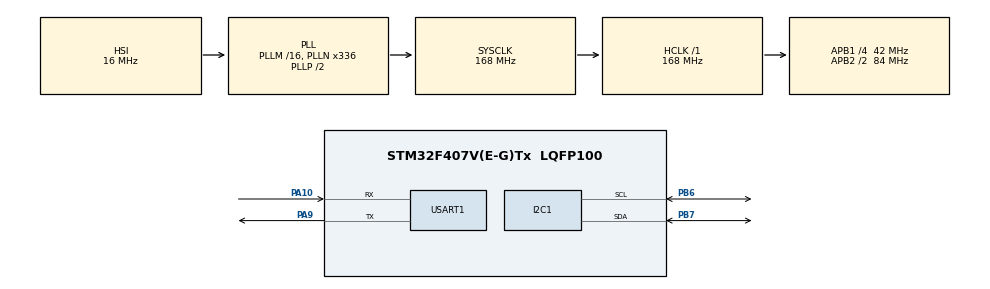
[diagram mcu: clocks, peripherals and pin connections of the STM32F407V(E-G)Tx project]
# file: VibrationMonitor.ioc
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I2C1.I2C_ClockSpeed=400000
Mcu.Family=STM32F4
Mcu.Name=STM32F407V(E-G)Tx
Mcu.Package=LQFP100
NVIC.PriorityGroup=NVIC_PRIORITYGROUP_4
PA10.Mode=Asynchronous
PA10.Signal=USART1_RX
PA9.Mode=Asynchronous
PA9.Signal=USART1_TX
PB6.Mode=I2C
PB6.Signal=I2C1_SCL
PB7.Mode=I2C
PB7.Signal=I2C1_SDA
PH0-OSC_IN.Signal=RCC_OSC_IN
PH1-OSC_OUT.Signal=RCC_OSC_OUT
ProjectManager.HeapSize=0x200
ProjectManager.StackSize=0x400
ProjectManager.TargetToolchain=MDK-ARM V5.32
RCC.AHBFreq_Value=168000000
RCC.APB1CLKDivider=RCC_HCLK_DIV4
RCC.APB1Freq_Value=42000000
RCC.APB1TimFreq_Value=84000000
RCC.APB2CLKDivider=RCC_HCLK_DIV2
RCC.APB2Freq_Value=84000000
RCC.APB2TimFreq_Value=168000000
RCC.CortexFreq_Value=168000000
RCC.HCLKFreq_Value=168000000
RCC.HSE_VALUE=8000000
RCC.HSI_VALUE=16000000
RCC.LSE_VALUE=32768
RCC.PLLN=336
RCC.PLLQ=7
RCC.SYSCLKFreq_VALUE=168000000
RCC.SYSCLKSource=RCC_SYSCLKSOURCE_PLLCLK
RCC.VCOOutputFreq_Value=336000000
SYS.Debug=Serial Wire
TIM3.Period=999
TIM3.Prescaler=83
USART1.VirtualMode=VM_ASYNC
VP_TIM3_VS_ClockSourceINT.Mode=Internal
board=custom

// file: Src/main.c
/* USER CODE BEGIN Header */
/**
  ******************************************************************************
  * @file           : main.c
  * @brief          : Main program body
  ******************************************************************************
  * @attention
  *
  * Copyright (c) 2026 STMicroelectronics.
  * All rights reserved.
  *
  * This software is licensed under terms that can be found in the LICENSE file
  * in the root directory of this software component.
  * If no LICENSE file comes with this software, it is provided AS-IS.
  *
  ******************************************************************************
  */
/* USER CODE END Header */
#include "main.h"

/* USER CODE BEGIN Includes */
#include "mpu6050.h"
#include "ssd1306.h"
#include "fft_analyzer.h"
#include "sampler.h"
#include <math.h>
/* USER CODE END Includes */

I2C_HandleTypeDef hi2c1;

TIM_HandleTypeDef htim3;

UART_HandleTypeDef huart1;

/* USER CODE BEGIN PV */
/* sample block: filled at exactly 1kHz from the MPU6050 X axis */
static float    sample_buf[FFT_N];
static float    fft_re[FFT_N];
static float    mag_buf[FFT_HALF + 1];

static uint32_t peak_bin = 0;      /* index of the strongest spectral line */
static float    peak_hz  = 0.0f;   /* that line converted to Hz            */

/* ---- idle / active detection thresholds ---------------------------------
 * amplitude unit: FFT magnitude in accelerometer LSB (+-4g, 8192 LSB/g).
 * PEAK_RATIO : the peak line must exceed the noise-floor mean by this factor
 * PEAK_FLOOR : absolute peak magnitude floor (LSB), rejects near-zero blocks
 * RMS_FLOOR  : time-domain RMS floor (LSB), rejects tiny idle motion
 * If a block fails either test it is reported as idle (PEAK = 0.0 Hz).
 * Tune these three constants together if idle still shows a fake peak,
 * or a light tap fails to trigger.                                          */
#define PEAK_RATIO    3.5f
#define PEAK_FLOOR    6.0f
#define RMS_FLOOR     8.0f
/* USER CODE END PV */

void SystemClock_Config(void);
static void MX_GPIO_Init(void);
static void MX_I2C1_Init(void);
static void MX_USART1_UART_Init(void);
static void MX_TIM3_Init(void);
/* USER CODE BEGIN PFP */
static void UART1_Print(const char *text);
static void UART1_PrintPeak(uint32_t bin, float hz);
/* USER CODE END PFP */

/* USER CODE BEGIN 0 */
/* send a plain string over USART1 (PA9) at 115200 8N1 */
static void UART1_Print(const char *text)
{
  uint16_t len = 0;
  while ((text[len] != 0) && (len < 128))
    len++;
  HAL_UART_Transmit(&huart1, (uint8_t *)text, len, 100);
}

/* report the strongest spectral line, integer Hz is enough for the demo */
static void UART1_PrintPeak(uint32_t bin, float hz)
{
  char buf[48];
  uint16_t i = 0;
  char tmp[8];
  int8_t k = 0;
  uint32_t ip = (uint32_t)(hz + 0.5f);

  buf[i++] = 'P'; buf[i++] = 'E'; buf[i++] = 'A'; buf[i++] = 'K';
  buf[i++] = '=';
  if (ip == 0)
    tmp[k++] = '0';
  while ((ip > 0) && (k < 8))
  {
    tmp[k++] = (char)('0' + (ip % 10));
    ip /= 10;
  }
  while (k > 0)
    buf[i++] = tmp[--k];

  buf[i++] = 'H'; buf[i++] = 'z'; buf[i++] = ' ';
  buf[i++] = 'b'; buf[i++] = 'i'; buf[i++] = 'n'; buf[i++] = '=';
  k = 0;
  ip = bin;
  if (ip == 0)
    tmp[k++] = '0';
  while ((ip > 0) && (k < 8))
  {
    tmp[k++] = (char)('0' + (ip % 10));
    ip /= 10;
  }
  while (k > 0)
    buf[i++] = tmp[--k];

  buf[i++] = '\r'; buf[i++] = '\n'; buf[i] = 0;
  UART1_Print(buf);
}
/* USER CODE END 0 */

int main(void)
{

  /* MCU Configuration--------------------------------------------------------*/

  /* Reset of all peripherals, Initializes the Flash interface and the Systick. */
  HAL_Init();

  /* Configure the system clock */
  SystemClock_Config();

  /* Initialize all configured peripherals */
  MX_GPIO_Init();
  MX_I2C1_Init();
  MX_USART1_UART_Init();
  MX_TIM3_Init();
  /* USER CODE BEGIN 2 */
  /* ---- OLED first, so every later step can report on screen ---- */
  OLED_Init(&hi2c1);
  OLED_Clear();
  OLED_String(0, 12, "STM32 VIB MONITOR");
  OLED_String(0, 28, "MPU6050 + FFT");
  OLED_Refresh();
  HAL_Delay(300);

  /* ---- accelerometer: WHO_AM_I check, 1kHz ODR, +-4g ---- */
  if (MPU6050_Init(&hi2c1) != 0)
  {
    OLED_Clear();
    OLED_String(0, 12, "MPU6050 FAIL");
    OLED_String(0, 28, "CHECK I2C WIRING");
    OLED_Refresh();
    UART1_Print("MPU6050 init failed\r\n");
    while (1)
    {
      /* stop here: nothing to analyse without the sensor */
    }
  }

  UART1_Print("MPU6050 ready: Fs=1000Hz, N=1024\r\n");

  /* ---- TIM3: 1kHz hardware sampler (update interrupt reads the sensor) ---- */
  Sampler_Init(&hi2c1);
  UART1_Print("TIM3 sampler started: 1kHz\r\n");
  /* USER CODE END 2 */

  /* Infinite loop */
  while (1)
  {

    /* USER CODE BEGIN 3 */
    uint32_t n;
    float absmax, mmax, v;
    float mag_max, mag_sum, mag_mean, rms;
    uint32_t k, bin_max, n_bins;
    uint8_t active;
    float *sampled;
    int16_t x, y, yprev, bar_x;
    uint16_t bar_h;

    /* ============ 1) acquire one block: TIM3 fires every 1ms ============ */
    Sampler_Start();
    while (Sampler_IsDone() == 0)
    {
      /* the whole block is filled inside the TIM3 update interrupt,
         the main loop only waits, so no I2C bus conflict with the OLED */
    }
    sampled = Sampler_Buffer();
    for (n = 0; n < FFT_N; n++)
    {
      sample_buf[n] = sampled[n];
    }

    /* ============ 2) signal processing ============ */
    FFT_MovingAverage(sample_buf, FFT_N, 4);            /* 4 point moving average   */
    FFT_RemoveDC(sample_buf, FFT_N);                    /* drop the gravity offset */
    for (n = 0; n < FFT_N; n++)
    {
      fft_re[n] = sample_buf[n];
    }
    FFT_HannWindow(fft_re, FFT_N);                      /* reduce leakage */
    FFT_Spectrum(fft_re, mag_buf, FFT_N);               /* CMSIS-DSP real FFT */

    /* ============ 2.5) idle / active detection ==========================
     * A real vibration shows up both as a time-domain energy rise and as a
     * single spectral line standing out above the noise floor.  Pure sensor
     * noise has no outstanding line, so we reject it as idle instead of
     * reporting the biggest random noise bin as a frequency.               */
    rms = 0.0f;
    for (n = 0; n < FFT_N; n++)
    {
        rms += sample_buf[n] * sample_buf[n];
    }
    rms = sqrtf(rms / (float)FFT_N);

    mag_max = 0.0f;
    mag_sum = 0.0f;
    bin_max = 2;
    n_bins  = 0;
    for (k = 2; k <= 120; k++)                          /* 2 .. 117 Hz */
    {
        if (mag_buf[k] > mag_max)
        {
            mag_max = mag_buf[k];
            bin_max = k;
        }
        mag_sum += mag_buf[k];
        n_bins++;
    }
    mag_mean = mag_sum / (float)n_bins;

    active = (mag_max >= PEAK_RATIO * mag_mean) &&
             (mag_max >= PEAK_FLOOR) &&
             (rms >= RMS_FLOOR);

    if (active)
    {
        peak_bin = bin_max;
        peak_hz  = (float)peak_bin * (FFT_FS / (float)FFT_N);
    }
    else
    {
        peak_bin = 0;
        peak_hz  = 0.0f;
    }

    /* ============ 3) draw on the OLED ============ */
    OLED_Clear();

    /* line 1: main frequency */
    OLED_String(0, 0, "PEAK");
    OLED_StringNum(28, 0, "=", peak_hz, 1);
    OLED_String(74, 0, "Hz");

    /* line 2: parameters */
    OLED_StringNum(0, 8, "Fs=", FFT_FS, 0);
    OLED_String(48, 8, "N=1024");

    /* time domain waveform, area y=16..36 */
    absmax = 30.0f;   /* fixed floor: idle noise is not blown up full screen */
    for (n = 0; n < FFT_N; n += 8)
    {
      v = fabsf(sample_buf[n]);
      if (v > absmax)
        absmax = v;
    }
    yprev = 26;
    for (x = 0; x < 128; x++)
    {
      v = sample_buf[x * 8];
      y = (int16_t)(26 - (int16_t)(v / absmax * 10.0f));
      if (y < 16) y = 16;
      if (y > 36) y = 36;
      if (x == 0)
        OLED_Pixel(x, y);
      else
        OLED_Line((int16_t)(x - 1), yprev, x, y);
      yprev = y;
    }

    /* spectrum bars, area y=40..62, bin 1..63 -> 1Hz..61Hz */
    mmax = 3.0f;      /* floor so idle noise bars stay short */
    for (n = 1; n <= 63; n++)
    {
      if (mag_buf[n] > mmax)
        mmax = mag_buf[n];
    }
    for (n = 1; n <= 63; n++)
    {
      bar_h = (uint16_t)(mag_buf[n] / mmax * 22.0f);
      if (bar_h > 0)
      {
        bar_x = (int16_t)((n - 1) * 2);
        OLED_FillRect(bar_x, (int16_t)(62 - bar_h), 1, (int16_t)bar_h);
      }
    }
    OLED_HLine(0, 63, 128);

    OLED_Refresh();
    if (active)
        UART1_PrintPeak(peak_bin, peak_hz);
    else
        UART1_Print("IDLE\r\n");
  }
  /* USER CODE END 3 */
}

void SystemClock_Config(void)
{
  RCC_OscInitTypeDef RCC_OscInitStruct = {0};
  RCC_ClkInitTypeDef RCC_ClkInitStruct = {0};

  /** Configure the main internal regulator output voltage
  */
  __HAL_RCC_PWR_CLK_ENABLE();
  __HAL_PWR_VOLTAGESCALING_CONFIG(PWR_REGULATOR_VOLTAGE_SCALE1);

  /** Initializes the RCC Oscillators according to the specified parameters
  * in the RCC_OscInitTypeDef structure.
  */
  RCC_OscInitStruct.OscillatorType = RCC_OSCILLATORTYPE_HSI;
  RCC_OscInitStruct.HSIState = RCC_HSI_ON;
  RCC_OscInitStruct.HSICalibrationValue = RCC_HSICALIBRATION_DEFAULT;
  RCC_OscInitStruct.PLL.PLLState = RCC_PLL_ON;
  RCC_OscInitStruct.PLL.PLLSource = RCC_PLLSOURCE_HSI;
  RCC_OscInitStruct.PLL.PLLM = 16;
  RCC_OscInitStruct.PLL.PLLN = 336;
  RCC_OscInitStruct.PLL.PLLP = RCC_PLLP_DIV2;
  RCC_OscInitStruct.PLL.PLLQ = 7;
  if (HAL_RCC_OscConfig(&RCC_OscInitStruct) != HAL_OK)
  {
    Error_Handler();
  }

  /** Initializes the CPU, AHB and APB buses clocks
  */
  RCC_ClkInitStruct.ClockType = RCC_CLOCKTYPE_HCLK|RCC_CLOCKTYPE_SYSCLK
                              |RCC_CLOCKTYPE_PCLK1|RCC_CLOCKTYPE_PCLK2;
  RCC_ClkInitStruct.SYSCLKSource = RCC_SYSCLKSOURCE_PLLCLK;
  RCC_ClkInitStruct.AHBCLKDivider = RCC_SYSCLK_DIV1;
  RCC_ClkInitStruct.APB1CLKDivider = RCC_HCLK_DIV4;
  RCC_ClkInitStruct.APB2CLKDivider = RCC_HCLK_DIV2;

  if (HAL_RCC_ClockConfig(&RCC_ClkInitStruct, FLASH_LATENCY_5) != HAL_OK)
  {
    Error_Handler();
  }
}

static void MX_I2C1_Init(void)
{

  hi2c1.Instance = I2C1;
  hi2c1.Init.ClockSpeed = 100000;
  hi2c1.Init.DutyCycle = I2C_DUTYCYCLE_2;
  hi2c1.Init.OwnAddress1 = 0;
  hi2c1.Init.AddressingMode = I2C_ADDRESSINGMODE_7BIT;
  hi2c1.Init.DualAddressMode = I2C_DUALADDRESS_DISABLE;
  hi2c1.Init.OwnAddress2 = 0;
  hi2c1.Init.GeneralCallMode = I2C_GENERALCALL_DISABLE;
  hi2c1.Init.NoStretchMode = I2C_NOSTRETCH_DISABLE;
  if (HAL_I2C_Init(&hi2c1) != HAL_OK)
  {
    Error_Handler();
  }
  /* USER CODE BEGIN I2C1_Init 2 */
  /* fast mode 400kHz: needed for the OLED refresh, otherwise one full
     screen update takes ~90ms at 100kHz and the display flickers */
  hi2c1.Init.ClockSpeed = 400000;
  hi2c1.Init.DutyCycle = I2C_DUTYCYCLE_2;
  if (HAL_I2C_Init(&hi2c1) != HAL_OK)
  {
    Error_Handler();
  }
  /* USER CODE END I2C1_Init 2 */

}

static void MX_TIM3_Init(void)
{

  TIM_ClockConfigTypeDef sClockSourceConfig = {0};
  TIM_MasterConfigTypeDef sMasterConfig = {0};

  htim3.Instance = TIM3;
  htim3.Init.Prescaler = 83;
  htim3.Init.CounterMode = TIM_COUNTERMODE_UP;
  htim3.Init.Period = 999;
  htim3.Init.ClockDivision = TIM_CLOCKDIVISION_DIV1;
  htim3.Init.AutoReloadPreload = TIM_AUTORELOAD_PRELOAD_DISABLE;
  if (HAL_TIM_Base_Init(&htim3) != HAL_OK)
  {
    Error_Handler();
  }
  sClockSourceConfig.ClockSource = TIM_CLOCKSOURCE_INTERNAL;
  if (HAL_TIM_ConfigClockSource(&htim3, &sClockSourceConfig) != HAL_OK)
  {
    Error_Handler();
  }
  sMasterConfig.MasterOutputTrigger = TIM_TRGO_RESET;
  sMasterConfig.MasterSlaveMode = TIM_MASTERSLAVEMODE_DISABLE;
  if (HAL_TIMEx_MasterConfigSynchronization(&htim3, &sMasterConfig) != HAL_OK)
  {
    Error_Handler();
  }

}

static void MX_USART1_UART_Init(void)
{

  huart1.Instance = USART1;
  huart1.Init.BaudRate = 115200;
  huart1.Init.WordLength = UART_WORDLENGTH_8B;
  huart1.Init.StopBits = UART_STOPBITS_1;
  huart1.Init.Parity = UART_PARITY_NONE;
  huart1.Init.Mode = UART_MODE_TX_RX;
  huart1.Init.HwFlowCtl = UART_HWCONTROL_NONE;
  huart1.Init.OverSampling = UART_OVERSAMPLING_16;
  if (HAL_UART_Init(&huart1) != HAL_OK)
  {
    Error_Handler();
  }

}

static void MX_GPIO_Init(void)
{

  /* GPIO Ports Clock Enable */
  __HAL_RCC_GPIOH_CLK_ENABLE();
  __HAL_RCC_GPIOA_CLK_ENABLE();
  __HAL_RCC_GPIOB_CLK_ENABLE();

}

void Error_Handler(void)
{
  __disable_irq();
  while (1)
  {
  }
}
